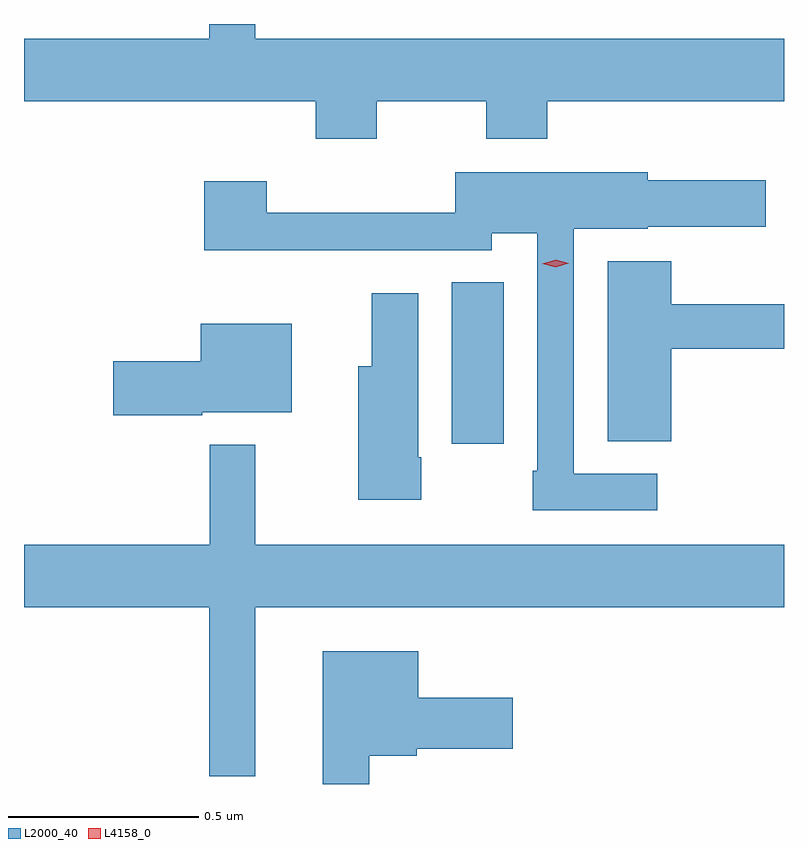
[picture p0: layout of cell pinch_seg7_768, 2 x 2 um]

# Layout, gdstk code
import gdstk
lib = gdstk.Library(unit=1e-6, precision=1e-09)
def R(c, l, rs):  # rectangles x0, y0, x1, y1
    for r in rs: c.add(gdstk.rectangle(r[:2], r[2:], *l))
def P(c, l, *ps):  # polygons
    for p in ps: c.add(gdstk.Polygon(p, *l))
L2000_40 = (2000, 40)
L4158_0 = (4158, 0)

pinch_seg7_768 = lib.new_cell('pinch_seg7_768')
R(pinch_seg7_768, L2000_40, [(337.622,1034.346,337.759,1034.771)])
P(pinch_seg7_768, L2000_40, [(337.425,1035.248),(337.714,1035.248),(337.714,1035.149),(337.874,1035.149),(337.874,1035.248),(338.497,1035.248),(338.497,1035.412),(337.105,1035.412),(337.105,1035.451),(336.984,1035.451),(336.984,1035.412),(336.497,1035.412),(336.497,1035.248),(337.265,1035.248),(337.265,1035.149),(337.425,1035.149)],
  [(338.164,1034.268),(337.944,1034.268),(337.944,1034.912),(338.139,1034.912),(338.139,1034.918),(338.449,1034.918),(338.449,1035.04),(338.139,1035.04),(338.139,1035.061),(337.632,1035.061),(337.632,1034.954),(337.136,1034.954),(337.136,1035.037),(336.971,1035.037),(336.971,1034.855),(337.219,1034.855),(337.219,1034.856),(337.728,1034.856),(337.728,1034.9),(337.848,1034.9),(337.848,1034.275),(337.836,1034.275),(337.836,1034.172),(338.164,1034.172)],
  [(338.2,1034.596),(338.497,1034.596),(338.497,1034.714),(338.2,1034.714),(338.2,1034.827),(338.033,1034.827),(338.033,1034.353),(338.2,1034.353)],
  [(337.542,1034.311),(337.534,1034.311),(337.534,1034.743),(337.412,1034.743),(337.412,1034.551),(337.376,1034.551),(337.376,1034.199),(337.542,1034.199)],
  [(336.966,1034.429),(337.201,1034.429),(337.201,1034.662),(336.962,1034.662),(336.962,1034.564),(336.732,1034.564),(336.732,1034.422),(336.966,1034.422)],
  [(337.105,1033.916),(338.497,1033.916),(338.497,1034.08),(337.106,1034.08),(337.106,1034.344),(336.986,1034.344),(336.986,1034.08),(336.497,1034.08),(336.497,1033.916),(336.984,1033.916),(336.984,1033.472),(337.105,1033.472)],
  [(337.405,1033.526),(337.53,1033.526),(337.53,1033.544),(337.783,1033.544),(337.783,1033.678),(337.534,1033.678),(337.534,1033.801),(337.283,1033.801),(337.283,1033.451),(337.405,1033.451)])
P(pinch_seg7_768, L4158_0, [(337.896,1034.811),(337.861,1034.82),(337.861,1034.82),(337.861,1034.82),(337.896,1034.831),(337.93,1034.822),(337.93,1034.821),(337.93,1034.821)])

lib.write_gds('pinch_seg7_768.gds')
